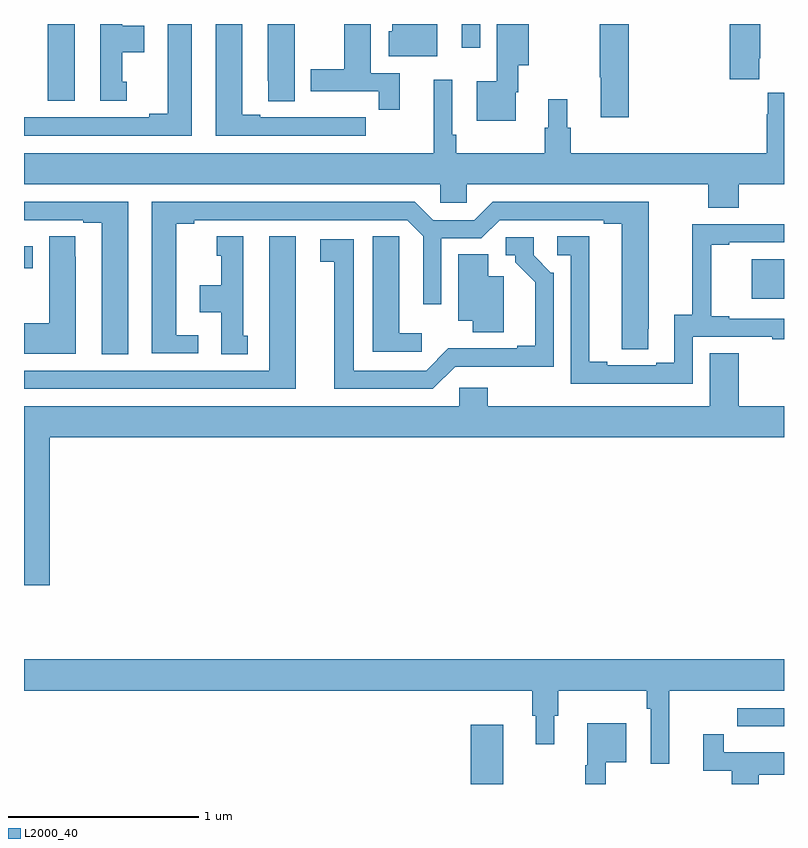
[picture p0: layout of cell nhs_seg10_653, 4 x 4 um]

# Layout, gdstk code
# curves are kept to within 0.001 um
import gdstk
lib = gdstk.Library(unit=1e-6, precision=1e-09)
def R(c, l, rs):  # rectangles x0, y0, x1, y1
    for r in rs: c.add(gdstk.rectangle(r[:2], r[2:], *l))
def P(c, l, *ps):  # polygons
    for p in ps: c.add(gdstk.Polygon(p, *l))
L2000_40 = (2000, 40)

nhs_seg10_653 = lib.new_cell('nhs_seg10_653')
R(nhs_seg10_653, L2000_40, [(145.352,1290.5,145.522,1290.811), (146.831,1293.053,147,1293.262), (143,1293.214,143.047,1293.33), (143.126,1294.095,143.266,1294.5), (145.304,1294.374,145.401,1294.5)])
P(nhs_seg10_653, L2000_40, [(144.977,1294.242),(144.826,1294.242),(144.826,1294.5),(144.686,1294.5),(144.686,1294.263),(144.509,1294.263),(144.509,1294.146),(144.868,1294.146),(144.868,1294.05),(144.977,1294.05)],
  [(144.799,1294.008),(144.686,1294.008),(144.686,1294.009),(144.52,1294.009),(144.52,1294.008),(144.244,1294.008),(144.244,1294.023),(144.148,1294.023),(144.148,1294.5),(144.008,1294.5),(144.008,1293.912),(144.799,1293.912)],
  [(145.174,1294.5),(144.938,1294.5),(144.938,1294.461),(144.92,1294.461),(144.92,1294.331),(145.174,1294.331)],
  [(144.424,1294.5),(144.284,1294.5),(144.284,1294.201),(144.285,1294.201),(144.285,1294.093),(144.424,1294.093)],
  [(145.587,1294.142),(145.6,1294.142),(145.6,1294.283),(145.656,1294.283),(145.656,1294.5),(145.489,1294.5),(145.489,1294.198),(145.382,1294.198),(145.382,1293.992),(145.587,1293.992)],
  [(146.869,1294.321),(146.874,1294.321),(146.874,1294.5),(146.714,1294.5),(146.714,1294.209),(146.869,1294.209)],
  [(143.884,1294.5),(143.756,1294.5),(143.756,1294.028),(143.66,1294.028),(143.66,1294.008),(143,1294.008),(143,1293.912),(143.884,1293.912)],
  [(146.183,1294.5),(146.029,1294.5),(146.029,1294.22),(146.036,1294.22),(146.036,1294.008),(146.183,1294.008)],
  [(143.542,1294.197),(143.518,1294.197),(143.518,1294.352),(143.632,1294.352),(143.632,1294.492),(143.518,1294.492),(143.518,1294.5),(143.402,1294.5),(143.402,1294.095),(143.542,1294.095)],
  [(145.157,1293.82),(143,1293.82),(143,1293.656),(145.191,1293.656),(145.191,1293.558),(145.329,1293.558),(145.329,1293.656),(146.602,1293.656),(146.602,1293.532),(146.762,1293.532),(146.762,1293.656),(147,1293.656),(147,1294.138),(146.915,1294.138),(146.915,1294.025),(146.909,1294.025),(146.909,1293.82),(145.877,1293.82),(145.877,1293.954),(145.858,1293.954),(145.858,1294.105),(145.76,1294.105),(145.76,1293.954),(145.741,1293.954),(145.741,1293.82),(145.274,1293.82),(145.274,1293.916),(145.254,1293.916),(145.254,1294.207),(145.157,1294.207)],
  [(143.548,1293.564),(143,1293.564),(143,1293.467),(143.036,1293.467),(143.036,1293.468),(143.312,1293.468),(143.312,1293.453),(143.408,1293.453),(143.408,1292.761),(143.548,1292.761)],
  [(143.917,1292.862),(143.8,1292.862),(143.8,1293.448),(143.896,1293.448),(143.896,1293.468),(145.017,1293.468),(145.101,1293.384),(145.101,1293.024),(145.197,1293.024),(145.197,1293.372),(145.407,1293.372),(145.503,1293.468),(146.051,1293.468),(146.051,1293.448),(146.147,1293.448),(146.147,1292.788),(146.286,1292.788),(146.287,1293.564),(145.467,1293.564),(145.371,1293.468),(145.153,1293.468),(145.057,1293.564),(143.672,1293.564),(143.672,1292.766),(143.917,1292.766)],
  [(146.52,1292.853),(146.939,1292.853),(146.939,1292.841),(147,1292.841),(147,1292.949),(146.713,1292.949),(146.713,1292.962),(146.618,1292.962),(146.618,1293.339),(146.713,1293.339),(146.713,1293.351),(147,1293.351),(147,1293.447),(146.518,1293.447),(146.518,1292.969),(146.423,1292.969),(146.423,1292.718),(146.327,1292.718),(146.327,1292.703),(146.071,1292.703),(146.071,1292.723),(145.975,1292.723),(145.975,1293.383),(145.806,1293.383),(145.806,1293.282),(145.878,1293.282),(145.878,1292.607),(146.52,1292.607)],
  [(143.272,1293.275),(143.271,1293.275),(143.271,1293.383),(143.132,1293.383),(143.132,1292.925),(143,1292.925),(143,1292.765),(143.272,1292.765)],
  [(145.093,1292.872),(144.976,1292.872),(144.976,1293.275),(144.975,1293.275),(144.975,1293.383),(144.836,1293.383),(144.836,1292.775),(145.093,1292.775)],
  [(144.43,1293.382),(144.29,1293.382),(144.29,1292.676),(143,1292.676),(143,1292.58),(144.43,1292.58)],
  [(144.178,1292.859),(144.154,1292.859),(144.154,1293.382),(144.014,1293.382),(144.014,1293.279),(144.038,1293.279),(144.038,1293.124),(143.924,1293.124),(143.924,1292.984),(144.038,1292.984),(144.038,1292.761),(144.178,1292.761)],
  [(145.269,1292.697),(145.788,1292.696),(145.788,1293.192),(145.773,1293.192),(145.683,1293.282),(145.683,1293.378),(145.536,1293.378),(145.536,1293.282),(145.586,1293.282),(145.586,1293.247),(145.691,1293.142),(145.691,1292.806),(145.595,1292.806),(145.595,1292.793),(145.234,1292.794),(145.116,1292.676),(144.736,1292.676),(144.736,1293.366),(144.558,1293.366),(144.558,1293.25),(144.632,1293.25),(144.632,1292.58),(145.152,1292.58)],
  [(145.525,1293.172),(145.444,1293.172),(145.444,1293.287),(145.286,1293.287),(145.286,1292.939),(145.361,1292.939),(145.361,1292.878),(145.525,1292.878)],
  [(143.135,1292.324),(147,1292.324),(147,1292.488),(146.762,1292.488),(146.762,1292.768),(146.609,1292.768),(146.609,1292.488),(145.442,1292.488),(145.442,1292.586),(145.29,1292.586),(145.29,1292.488),(143,1292.488),(143,1291.545),(143.135,1291.545)],
  [(146.396,1290.992),(147,1290.992),(147,1291.156),(143,1291.156),(143,1290.992),(145.675,1290.992),(145.675,1290.858),(145.694,1290.858),(145.694,1290.708),(145.792,1290.708),(145.792,1290.858),(145.811,1290.858),(145.811,1290.992),(146.278,1290.992),(146.278,1290.896),(146.298,1290.896),(146.298,1290.606),(146.396,1290.606)],
  [(147,1290.9),(146.754,1290.9),(146.754,1290.804),(146.866,1290.804),(146.866,1290.803),(147,1290.803)],
  [(146.061,1290.614),(146.17,1290.614),(146.17,1290.82),(145.964,1290.82),(145.964,1290.6),(145.953,1290.6),(145.953,1290.5),(146.061,1290.5)],
  [(146.866,1290.55),(147,1290.55),(147,1290.666),(146.684,1290.666),(146.684,1290.763),(146.576,1290.763),(146.576,1290.57),(146.726,1290.57),(146.726,1290.5),(146.866,1290.5)])

lib.write_gds('nhs_seg10_653.gds')
